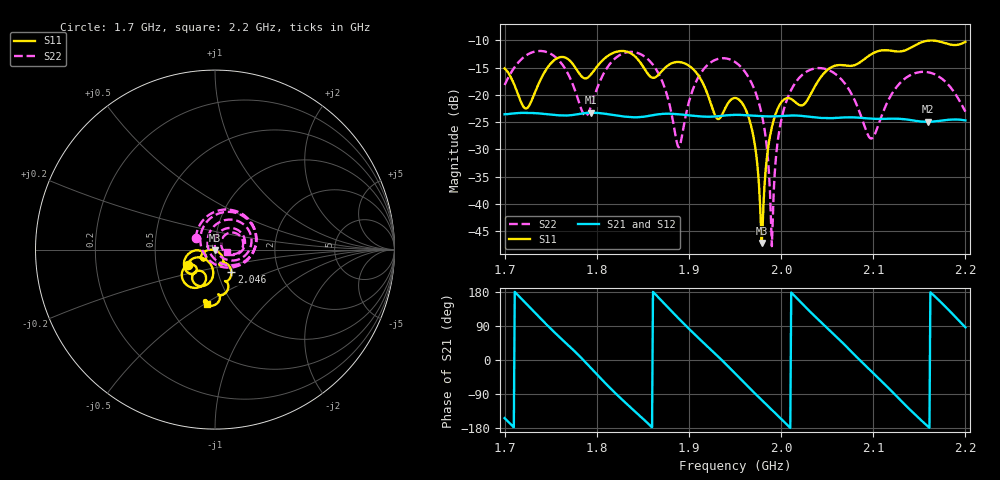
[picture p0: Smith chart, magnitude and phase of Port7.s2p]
# Hz S RI R 50
! CMT, CMT808U, 21440046, 21.4.3/4
! Date: 12/11/2025 6:18:02 PM
! Data: Format (Calibration Info)
! Freq	S11:Re/Im(F2)	S41:Re/Im(F2)	S14:Re/Im(F2)	S44:Re/Im(F2)
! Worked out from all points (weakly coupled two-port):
!   501 points, 1.7 GHz to 2.2 GHz, reference 50 ohm
!   highest |S21| = -23.28 dB at 1.794 GHz (marker M1); lowest = -25.0 dB at 2.159 GHz (marker M2)
!   lowest |S11| = -47.2 dB at 1.979 GHz (marker M3), VSWR 1.01, Z = 49.8 - j0.408 ohm
!   |S11| at or under -10 dB: start of sweep to end of sweep
!   |S22| runs from -47.8 to -12.0 dB; largest |S21 - S12| = 0.00068
!   S11 on the Smith chart (normalised r, x): 1.7 GHz: 0.73, -0.13; 2.046 GHz: 1.16, -0.30; 2.2 GHz: 0.77, -0.51
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1.7e9  -0.1519 -0.0864  -0.0593 -0.0296  -0.0589 -0.0299  -0.1062 0.0619
1.723e9  -0.0455 -0.0593  -0.0589 0.0346  -0.059 0.0341  0.0502 0.223
1.746e9  -0.0225 -0.1735  -0.00271 0.0663  -0.00319 0.0662  0.2267 0.0956
1.784e9  -0.0867 -0.1176  0.0672 0.00426  0.0671 0.00473  -0.0227 -0.0672
1.794e9  -0.0517 -0.1457  0.0635 -0.0257  0.0636 -0.0252  -0.0775 0.0176
1.827e9  -0.1556 -0.1987  -0.0148 -0.0618  -0.0142 -0.0618  0.1212 0.2031
1.867e9  -0.1013 -0.1142  -0.0639 0.0173  -0.064 0.0168  0.1347 -0.0801
1.889e9  -0.1635 -0.1149  -0.0218 0.0625  -0.0222 0.0622  -0.0299 -0.0139
1.914e9  -0.1328 -0.0128  0.0409 0.0482  0.0404 0.0484  0.0377 0.1587
1.931e9  -0.0546 -0.0252  0.0624 0.012  0.0621 0.0125  0.1599 0.1404
1.95e9  -0.0749 -0.0558  0.0534 -0.0378  0.0536 -0.0373  0.1992 0.0179
1.969e9  -0.0454 -0.00471  0.00902 -0.0636  0.00966 -0.0636  0.107 -0.0605
1.979e9  -0.00151 -0.00409  -0.0172 -0.0613  -0.0166 -0.0613  0.0458 -0.0478
1.99e9  0.0379 -0.0334  -0.042 -0.0475  -0.0415 -0.0478  0.00377 0.00155
1.996e9  0.0461 -0.0571  -0.0523 -0.0359  -0.052 -0.0364  -0.00178 0.0355
2.003e9  0.041 -0.0804  -0.0609 -0.0195  -0.0607 -0.0201  0.0076 0.073
2.034e9  0.0704 -0.0824  -0.0327 0.0531  -0.0331 0.0528  0.1412 0.0986
2.046e9  0.0916 -0.1259  -0.00396 0.061  -0.00456 0.061  0.1664 0.0519
2.097e9  0.0714 -0.222  0.0533 -0.0284  0.0536 -0.028  0.0384 0.0103
2.117e9  0.0255 -0.2539  0.0156 -0.0583  0.016 -0.0581  0.0504 0.076
2.159e9  -0.0158 -0.313  -0.0563 -0.00538  -0.0563 -0.00591  0.1566 0.0381
2.2e9  -0.0429 -0.3027  0.00397 0.0581  0.00349 0.0581  0.0687 -0.0132
